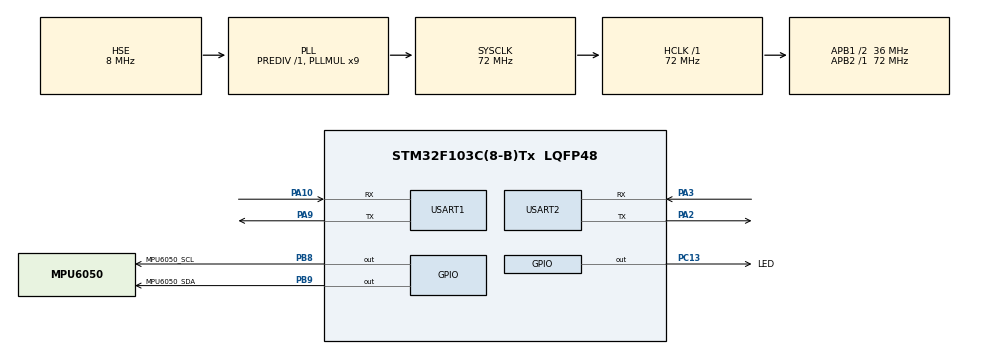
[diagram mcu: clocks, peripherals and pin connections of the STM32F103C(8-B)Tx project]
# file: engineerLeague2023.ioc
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Mcu.Family=STM32F1
Mcu.Name=STM32F103C(8-B)Tx
Mcu.Package=LQFP48
NVIC.PriorityGroup=NVIC_PRIORITYGROUP_4
NVIC.TIM1_UP_IRQn=true\:1\:0\:true\:false\:true\:true\:true\:true
NVIC.USART1_IRQn=true\:0\:0\:false\:false\:true\:true\:true\:true
NVIC.USART2_IRQn=true\:0\:0\:false\:false\:true\:true\:true\:true
PA10.Mode=Asynchronous
PA10.Signal=USART1_RX
PA2.Mode=Asynchronous
PA2.Signal=USART2_TX
PA3.Mode=Asynchronous
PA3.Signal=USART2_RX
PA9.Mode=Asynchronous
PA9.Signal=USART1_TX
PB8.GPIO_Label=MPU6050_SCL
PB8.GPIO_ModeDefaultOutputPP=GPIO_MODE_OUTPUT_OD
PB8.GPIO_PuPd=GPIO_PULLUP
PB8.GPIO_Speed=GPIO_SPEED_FREQ_HIGH
PB8.Signal=GPIO_Output
PB9.GPIO_Label=MPU6050_SDA
PB9.GPIO_ModeDefaultOutputPP=GPIO_MODE_OUTPUT_OD
PB9.GPIO_PuPd=GPIO_PULLUP
PB9.GPIO_Speed=GPIO_SPEED_FREQ_HIGH
PB9.Signal=GPIO_Output
PC13-TAMPER-RTC.GPIO_Label=LED
PC13-TAMPER-RTC.Signal=GPIO_Output
PC14-OSC32_IN.Mode=LSE-External-Oscillator
PC14-OSC32_IN.Signal=RCC_OSC32_IN
PC15-OSC32_OUT.Mode=LSE-External-Oscillator
PC15-OSC32_OUT.Signal=RCC_OSC32_OUT
PD0-OSC_IN.Mode=HSE-External-Oscillator
PD0-OSC_IN.Signal=RCC_OSC_IN
PD1-OSC_OUT.Mode=HSE-External-Oscillator
PD1-OSC_OUT.Signal=RCC_OSC_OUT
ProjectManager.HeapSize=0x200
ProjectManager.StackSize=0x400
ProjectManager.TargetToolchain=MDK-ARM V5
RCC.AHBFreq_Value=72000000
RCC.APB1CLKDivider=RCC_HCLK_DIV2
RCC.APB1Freq_Value=36000000
RCC.APB1TimFreq_Value=72000000
RCC.APB2Freq_Value=72000000
RCC.APB2TimFreq_Value=72000000
RCC.HCLKFreq_Value=72000000
RCC.PLLMUL=RCC_PLL_MUL9
RCC.PLLSourceVirtual=RCC_PLLSOURCE_HSE
RCC.SYSCLKFreq_VALUE=72000000
RCC.SYSCLKSource=RCC_SYSCLKSOURCE_PLLCLK
RCC.USBFreq_Value=72000000
TIM1.AutoReloadPreload=TIM_AUTORELOAD_PRELOAD_ENABLE
TIM1.Period=10000-1
TIM1.Prescaler=72-1
USART1.VirtualMode=VM_ASYNC
USART2.VirtualMode=VM_ASYNC
VP_SYS_VS_ND.Mode=No_Debug
VP_TIM1_VS_ClockSourceINT.Mode=Internal
board=custom

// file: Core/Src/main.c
/* USER CODE BEGIN Header */
/**
 ******************************************************************************
 * @file           : main.c
 * @brief          : Main program body
 ******************************************************************************
 * @attention
 *
 * Copyright (c) 2023 STMicroelectronics.
 * All rights reserved.
 *
 * This software is licensed under terms that can be found in the LICENSE file
 * in the root directory of this software component.
 * If no LICENSE file comes with this software, it is provided AS-IS.
 *
 ******************************************************************************
 */
/* USER CODE END Header */
#include "main.h"
#include "tim.h"
#include "usart.h"
#include "gpio.h"

/* USER CODE BEGIN Includes */
#include "stdio.h"
#include "IIC.h"
#include "mpu6050.h"
#include "inv_mpu.h"
#include "inv_mpu_dmp_motion_driver.h"
#include "math.h"
/* USER CODE END Includes */

/* USER CODE BEGIN PD */
#define INITIAL_THRESHOLD 0.4 // 初始阈值
#define DELAY_COUNT 150       // 延迟计数，根据实际情况调整
#define InRangeOf_ACC 0.2
/* USER CODE END PD */

/* USER CODE BEGIN PV */
float pitch, roll, yaw;    // 欧拉角
short aacx, aacy, aacz;    // 加速度传感器原始数据
short gyrox, gyroy, gyroz; // 陀螺仪原始数据
float ax, ay, az;
float temp; // 温度
int topSurface = 0;
int count = 0;
int shakeCount = 0;

int positionX = 0;
int positionY = 0;

short last_ax, last_ay, last_az;              // 用来保存上次的加速度数据
float threshold_movement = INITIAL_THRESHOLD; // 动态阈值
int delay_count = 0;                          // 延迟计数器
float threshold = 1.75;                       // 阈值
int output_on = 0;

uint8_t g_ucUsart1ReceiveData;

int mode[5] = {0};

float ax_integral = 0.0;
float ay_integral = 0.0;

char cubeStatus[16][3];
char lastCubeStatus[16][3];
char *board[4][4] = {
    {"00", "01", "02", "03"},
    {"04", "05", "06", "07"},
    {"08", "09", "10", "11"},
    {"12", "13", "14", "15"}};

char movement_history[15] = {'\0'};
uint8_t movement_history_index = 0;
/* USER CODE END PV */

void SystemClock_Config(void);
/* USER CODE BEGIN PFP */
char topSurfaceIdentify(void);
void check_movement(float ax, float ay);
void check_for_movement(float ax, float ay);
HAL_StatusTypeDef in_range_of(float value, float min, float max);
/* USER CODE END PFP */

int main(void)
{

  /* MCU Configuration--------------------------------------------------------*/

  /* Reset of all peripherals, Initializes the Flash interface and the Systick. */
  HAL_Init();

  /* Configure the system clock */
  SystemClock_Config();

  /* Initialize all configured peripherals */
  MX_GPIO_Init();
  MX_TIM1_Init();
  MX_USART1_UART_Init();
  MX_USART2_UART_Init();
  /* USER CODE BEGIN 2 */
  MPU_Init();     // MPU6050初始化
  mpu_dmp_init(); // dmp初始化
  printf("初始化成功！\r\n");
  HAL_TIM_Base_Start_IT(&htim1);
  HAL_UART_Receive_IT(&huart1, &g_ucUsart1ReceiveData, 1);
  /* USER CODE END 2 */

  /* Infinite loop */
  /* USER CODE BEGIN WHILE */
  while (1)
  {
    HAL_Delay(500);
    HAL_GPIO_TogglePin(LED_GPIO_Port, LED_Pin);
    // topSurfaceIdentify();
    /* USER CODE END WHILE */

  }
}

void SystemClock_Config(void)
{
  RCC_OscInitTypeDef RCC_OscInitStruct = {0};
  RCC_ClkInitTypeDef RCC_ClkInitStruct = {0};

  /** Initializes the RCC Oscillators according to the specified parameters
   * in the RCC_OscInitTypeDef structure.
   */
  RCC_OscInitStruct.OscillatorType = RCC_OSCILLATORTYPE_HSE;
  RCC_OscInitStruct.HSEState = RCC_HSE_ON;
  RCC_OscInitStruct.HSEPredivValue = RCC_HSE_PREDIV_DIV1;
  RCC_OscInitStruct.HSIState = RCC_HSI_ON;
  RCC_OscInitStruct.PLL.PLLState = RCC_PLL_ON;
  RCC_OscInitStruct.PLL.PLLSource = RCC_PLLSOURCE_HSE;
  RCC_OscInitStruct.PLL.PLLMUL = RCC_PLL_MUL9;
  if (HAL_RCC_OscConfig(&RCC_OscInitStruct) != HAL_OK)
  {
    Error_Handler();
  }

  /** Initializes the CPU, AHB and APB buses clocks
   */
  RCC_ClkInitStruct.ClockType = RCC_CLOCKTYPE_HCLK | RCC_CLOCKTYPE_SYSCLK | RCC_CLOCKTYPE_PCLK1 | RCC_CLOCKTYPE_PCLK2;
  RCC_ClkInitStruct.SYSCLKSource = RCC_SYSCLKSOURCE_PLLCLK;
  RCC_ClkInitStruct.AHBCLKDivider = RCC_SYSCLK_DIV1;
  RCC_ClkInitStruct.APB1CLKDivider = RCC_HCLK_DIV2;
  RCC_ClkInitStruct.APB2CLKDivider = RCC_HCLK_DIV1;

  if (HAL_RCC_ClockConfig(&RCC_ClkInitStruct, FLASH_LATENCY_2) != HAL_OK)
  {
    Error_Handler();
  }
}

/* USER CODE BEGIN 4 */
int fputc(int ch, FILE *f)
{
  HAL_UART_Transmit(&huart1, (uint8_t *)&ch, 1, HAL_MAX_DELAY);
  return ch;
}

void HAL_TIM_PeriodElapsedCallback(TIM_HandleTypeDef *htim)
{
  int flipCount = 0;

  last_ax = ax;
  last_ay = ay;
  last_az = az;
  if (htim == (&htim1))
  {
    while (mpu_dmp_get_data(&pitch, &roll, &yaw))
      ;                                         // 必须要用while等待，才能读取成功
    MPU_Get_Accelerometer(&aacx, &aacy, &aacz); // 得到加速度传感器数据
    ax = (float)aacx / 16384.0;
    ay = (float)aacy / 16384.0;
    az = (float)aacz / 16384.0;
    MPU_Get_Gyroscope(&gyrox, &gyroy, &gyroz); // 得到陀螺仪数据
    // 计算加速度的变化
    float delta_aacx = fabsf(ax - last_ax);
    float delta_aacy = fabsf(ay - last_ay);
    float delta_aacz = fabsf(az - last_az);
    float total_delta = sqrtf(delta_aacx * delta_aacx + delta_aacy * delta_aacy + delta_aacz * delta_aacz);
    // temp = MPU_Get_Temperature();               // 得到温度信息

    if (mode[0] == 0 && mode[1] == 0 && mode[2] == 0 && mode[3] == 0 && mode[4] == 0)
    {
      printf("data:%.1f,%.1f,%.1f\r\n", ax, ay, az);
    }

    // 检测是否有摇动
    if (mode[0] == 1)
    {
      shakeCount++;
      if (total_delta > threshold && shakeCount > 150)
      {
        output_on = !output_on;
        if (output_on)
        {
          printf("ON\r\n");
          shakeCount = 0;
        }
        else
        {
          printf("OFF\r\n");
          shakeCount = 0;
        }
      }
    }
    if (mode[1] == 1)
    {
      printf("data:%.1f,%.1f,%.1f\r\n", roll, pitch, yaw); // 串口1输出采集信息
    }
    if (mode[2] == 1)
    {
      topSurfaceIdentify();
    }
    if (mode[3] == 1)
    {
      count = 0;
      positionX = 0;
      positionY = 0;
    }
    if (mode[4] == 1)
    {
      count++;
      // printf("mode 4\r\n");
      if (count > 100 && count < 500)
      {
        check_for_movement(ax, ay);
      }
      if (count == 500)
      {
        printf("positionX: %d, positionY: %d\r\n", positionX, positionY);
        if (positionX > 0 && positionY > 0)
        {
          printf("%s\r\n", board[3 - positionY][3 - positionX]);
        }
        if (positionX < 0 && positionY > 0)
        {
          printf("%s\r\n", board[3 - positionY][-positionX]);
        }
        if (positionX < 0 && positionY < 0)
        {
          printf("%s\r\n", board[-positionY][-positionX]);
        }
        if (positionX > 0 && positionY < 0)
        {
          printf("%s\r\n", board[-positionY][3 - positionX]);
        }
      }
    }
  }
}
char topSurfaceIdentify()
{
  if (
      in_range_of(az, 1 - InRangeOf_ACC, 1 + InRangeOf_ACC) == HAL_OK && in_range_of(ax, 0 - InRangeOf_ACC, 0 + InRangeOf_ACC) == HAL_OK && in_range_of(ay, 0 - InRangeOf_ACC, 0 + InRangeOf_ACC) == HAL_OK)
  { // 处于E面
    if (mode[2] == 1)
    {
      printf("topSurface is E\r\n");
    }
    return 'E';
  }
  else if (
      in_range_of(az, 0 - InRangeOf_ACC, 0 + InRangeOf_ACC) == HAL_OK && in_range_of(ax, 1 - InRangeOf_ACC, 1 + InRangeOf_ACC) == HAL_OK && in_range_of(ay, 0 - InRangeOf_ACC, 0 + InRangeOf_ACC) == HAL_OK)
  { // 处于C面
    if (mode[2] == 1)
    {
      printf("topSurface is C\r\n");
    }
    return 'C';
  }
  else if (
      in_range_of(az, -0.1 - InRangeOf_ACC, -0.1 + InRangeOf_ACC) == HAL_OK && in_range_of(ax, 0 - InRangeOf_ACC, 0 + InRangeOf_ACC) == HAL_OK && in_range_of(ay, 1 - InRangeOf_ACC, 1 + InRangeOf_ACC) == HAL_OK)
  { // 处于D面
    if (mode[2] == 1)
    {
      printf("topSurface is D\r\n");
    }
    return 'D';
  }
  else if (
      in_range_of(az, 0 - InRangeOf_ACC, 0 + InRangeOf_ACC) == HAL_OK && in_range_of(ay, -1 - InRangeOf_ACC, -1 + InRangeOf_ACC) == HAL_OK && in_range_of(ax, 0 - InRangeOf_ACC, 0 + InRangeOf_ACC) == HAL_OK)
  { // 处于B面
    if (mode[2] == 1)
    {
      printf("topSurface is B\r\n");
    }
    return 'B';
  }
  else if (
      in_range_of(az, 0 - InRangeOf_ACC, 0 + InRangeOf_ACC) == HAL_OK && in_range_of(ay, 0 - InRangeOf_ACC, 0 + InRangeOf_ACC) == HAL_OK && in_range_of(ax, -1 - InRangeOf_ACC, -1 + InRangeOf_ACC) == HAL_OK)
  { // 处于A面
    if (mode[2] == 1)
    {
      printf("topSurface is A\r\n");
    }
    return 'A';
  }
  else if (
      in_range_of(az, -1 - InRangeOf_ACC, -1 + InRangeOf_ACC) == HAL_OK && in_range_of(ax, 0 - InRangeOf_ACC, 0 + InRangeOf_ACC) == HAL_OK && in_range_of(ay, 0 - InRangeOf_ACC, 0 + InRangeOf_ACC) == HAL_OK)
  { // 处于F面
    if (mode[2] == 1)
    {
      printf("topSurface is F\r\n");
    }
    return 'F';
  }
  else
  {
    if (mode[2] == 1)
    {
      printf("topSurface is Unkonw\r\n");
    }
    return 'X';
  }
}
HAL_StatusTypeDef in_range_of(float value, float min, float max)
{
  if (value > min && value < max)
  {
    return HAL_OK;
  }
  else
  {
    return HAL_ERROR;
  }
}
void check_for_movement(float ax, float ay)
{
  if (ax > threshold_movement)
  {
    positionY--;
    printf("backward\r\n");
    count = 0;
  }
  if (ax < -threshold_movement)
  {
    positionY++;
    printf("forward\r\n");
    count = 0;
  }
  if (ay > threshold_movement)
  {
    positionX++;
    printf("right\r\n");
    count = 0;
  }
  if (ay < -threshold_movement)
  {
    positionX--;
    printf("left\r\n");
    count = 0;
  }
}
/* USER CODE END 4 */

void Error_Handler(void)
{
  __disable_irq();
  while (1)
  {
  }
}
